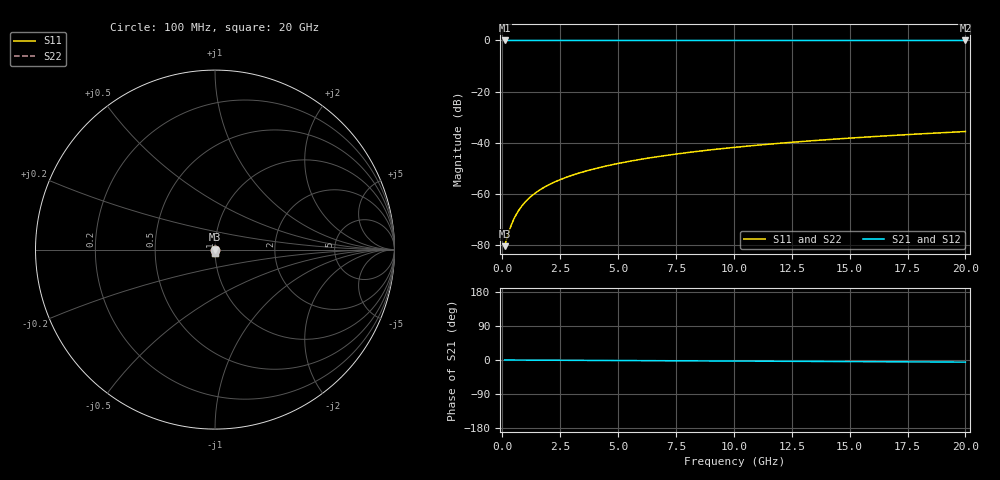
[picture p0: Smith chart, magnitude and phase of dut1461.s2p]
! Touchstone file exported from HFSS 2026.1.0
!  File:  C:/ffzhzh/LocalFiles/Ansys_Project_Files/temp_train_TSV_1461_1783198125_51560.aedt
!  Generated:  04:50:04 AM Jul  5, 2026
!  Design:  TSV
!  Project:  temp_train_TSV_1461_1783198125_51560
! Variables:
!  h_bsmrdl = 2um
!  h_ox = 20um
!  h_rdl = 5um
!  h_sub = 53.35um
!  h_tmrdl = 5um
!  h_tsv = 53.35um
!  h_via = 3um
!  l_bsmrdl = 300um
!  l_sub = 423.02um
!  l_tmrdl = 200um
!  m_sub = 200um
!  pitch = 38.99um
!  r_tsv = 11.51um
!  s_tmrdl = 10um
!  w_bsmrdl = 18um
!  w_sub = 500um
!  w_tmrdl = 12um
!  x_tsv_center1 = 206um
!  x_tsv_center2 = 524um
!  x_tsv_center3 = 736um
!  x_tsv_center4 = 1054um
!  x_tsv_center5 = 1266um
!  x_tsv_center6 = 1584um
# GHz S MA R 50.000000
! Terminal data exported
! Port[1] = TSV1_1_T1
! Port[2] = TSV1_1_T2
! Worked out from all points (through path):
!   200 points, 100 MHz to 20 GHz, reference 50 ohm
!   highest |S21| = 0.00 dB at 100 MHz (marker M1); lowest = 0.0 dB at 20 GHz (marker M2)
!   lowest |S11| = -80.4 dB at 100 MHz (marker M3), VSWR 1.00, Z = 50 - j0.0051 ohm
!   |S11| at or under -10 dB: start of sweep to end of sweep
!   |S22| runs from -80.4 to -35.6 dB; largest |S21 - S12| = 2.1e-15
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0.1  9.54e-05 -32.3  0.9999 -0.0  0.9999 -0.0  9.54e-05 -32.3
! Gamma 0 0 0 0
! Port Impedance 50 0 50 0
0.3  0.0001929 -57.2  0.9999 -0.1  0.9999 -0.1  0.0001929 -57.2
0.4  0.0002553 -61.7  0.9999 -0.1  0.9999 -0.1  0.0002553 -61.7
0.5  0.0003233 -64.6  0.9999 -0.1  0.9999 -0.1  0.0003233 -64.6
0.6  0.0003953 -66.8  0.9998 -0.2  0.9998 -0.2  0.0003953 -66.8
0.8  0.0005469 -70.1  0.9998 -0.2  0.9998 -0.2  0.0005469 -70.1
0.9  0.000625 -71.5  0.9998 -0.3  0.9998 -0.3  0.000625 -71.5
1.1  0.0007834 -73.7  0.9998 -0.3  0.9998 -0.3  0.0007834 -73.7
1.3  0.0009432 -75.5  0.9998 -0.4  0.9998 -0.4  0.0009432 -75.5
1.5  0.001103 -76.9  0.9997 -0.4  0.9997 -0.4  0.001103 -76.9
1.8  0.001344 -78.6  0.9997 -0.5  0.9997 -0.5  0.001344 -78.6
2.1  0.001584 -79.9  0.9997 -0.6  0.9997 -0.6  0.001584 -79.9
2.7  0.002067 -81.7  0.9997 -0.8  0.9997 -0.8  0.002067 -81.7
3.5  0.002714 -83.2  0.9996 -1.0  0.9996 -1.0  0.002714 -83.2
4.2  0.003284 -84.2  0.9996 -1.2  0.9996 -1.2  0.003284 -84.2
5  0.003941 -85.0  0.9996 -1.4  0.9996 -1.4  0.003941 -85.0
6.8  0.005436 -86.4  0.9995 -1.9  0.9995 -1.9  0.005436 -86.4
8.3  0.006692 -87.4  0.9994 -2.3  0.9994 -2.3  0.006692 -87.4
10.1  0.008206 -88.4  0.9993 -2.8  0.9993 -2.8  0.008206 -88.4
13.4  0.01099 -90.0  0.9992 -3.7  0.9992 -3.7  0.01099 -90.0
16.7  0.01379 -91.3  0.9991 -4.7  0.9991 -4.7  0.01379 -91.3
20  0.0166 -92.5  0.999 -5.6  0.999 -5.6  0.0166 -92.5
